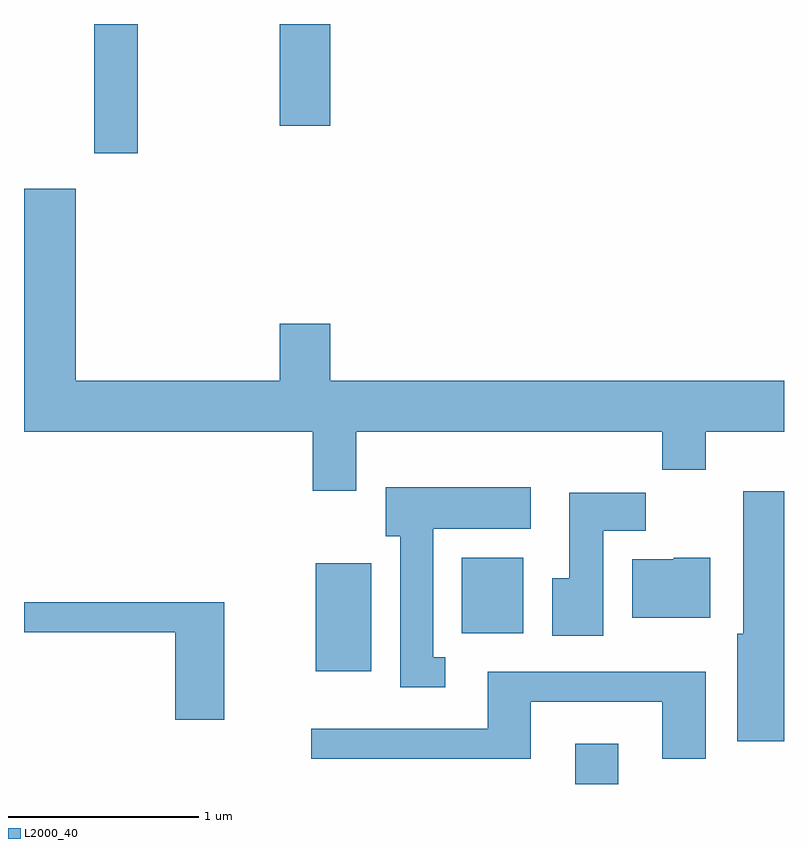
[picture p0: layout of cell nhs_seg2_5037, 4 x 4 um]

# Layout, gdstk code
import gdstk
lib = gdstk.Library(unit=1e-6, precision=1e-09)
def R(c, l, rs):  # rectangles x0, y0, x1, y1
    for r in rs: c.add(gdstk.rectangle(r[:2], r[2:], *l))
def P(c, l, *ps):  # polygons
    for p in ps: c.add(gdstk.Polygon(p, *l))
L2000_40 = (2000, 40)

nhs_seg2_5037 = lib.new_cell('nhs_seg2_5037')
R(nhs_seg2_5037, L2000_40, [(336.511,1039.802,336.739,1040.014), (335.146,1040.396,335.439,1040.964), (335.916,1040.596,336.239,1040.994), (333.981,1043.121,334.209,1043.802), (334.956,1043.266,335.224,1043.802)])
P(nhs_seg2_5037, L2000_40, [(335.359,1041.656),(336.971,1041.656),(336.971,1041.456),(337.199,1041.456),(337.199,1041.656),(337.611,1041.656),(337.611,1041.924),(335.224,1041.924),(335.224,1042.224),(334.956,1042.224),(334.956,1041.924),(333.884,1041.924),(333.884,1042.934),(333.611,1042.934),(333.611,1041.656),(335.131,1041.656),(335.131,1041.346),(335.359,1041.346)],
  [(335.828,1040.469),(335.764,1040.469),(335.764,1041.146),(336.279,1041.146),(336.279,1041.364),(335.516,1041.364),(335.516,1041.106),(335.591,1041.106),(335.591,1040.311),(335.828,1040.311)],
  [(337.611,1041.344),(337.396,1041.344),(337.396,1040.594),(337.366,1040.594),(337.366,1040.026),(337.611,1040.026)],
  [(336.659,1041.136),(336.884,1041.136),(336.884,1041.334),(336.481,1041.334),(336.481,1040.884),(336.391,1040.884),(336.391,1040.581),(336.659,1040.581)],
  [(337.224,1040.994),(337.03,1040.994),(337.03,1040.984),(336.811,1040.984),(336.811,1040.676),(337.224,1040.676)],
  [(334.664,1040.759),(333.611,1040.759),(333.611,1040.601),(334.406,1040.601),(334.406,1040.141),(334.664,1040.141)],
  [(336.279,1040.236),(336.971,1040.236),(336.971,1039.936),(337.199,1039.936),(337.199,1040.394),(336.051,1040.394),(336.051,1040.094),(335.123,1040.094),(335.123,1039.936),(336.279,1039.936)])

lib.write_gds('nhs_seg2_5037.gds')
